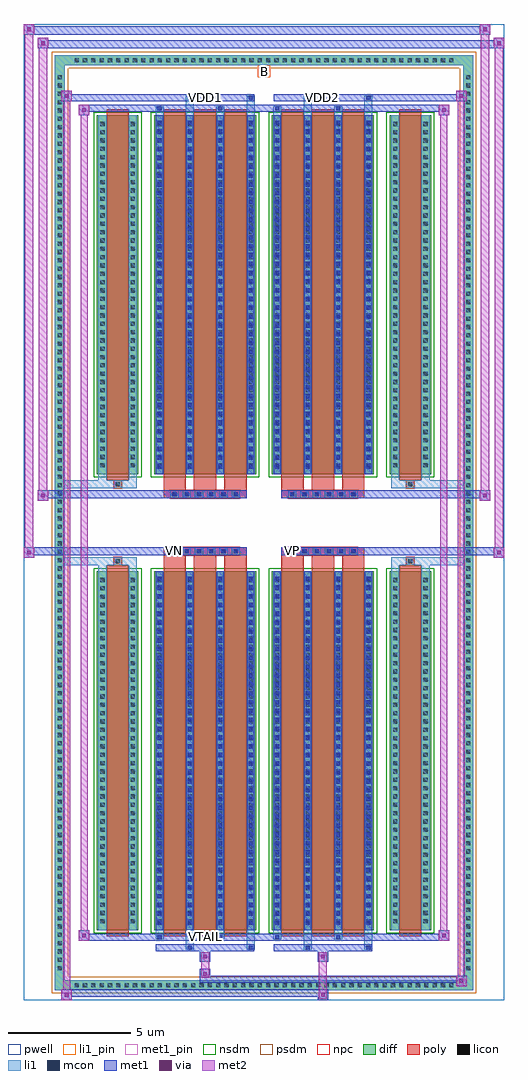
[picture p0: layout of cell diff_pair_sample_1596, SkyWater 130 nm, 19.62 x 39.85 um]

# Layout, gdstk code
import gdstk
lib = gdstk.Library(unit=1e-6, precision=5e-09)
def R(c, l, rs):  # rectangles x0, y0, x1, y1
    for r in rs: c.add(gdstk.rectangle(r[:2], r[2:], *l))
def A(c, l, x, y, w, h, nx, ny, dx, dy):  # array of equal rectangles
    R(c, l, [(x+i*dx, y+j*dy, x+i*dx+w, y+j*dy+h) for i in range(nx) for j in range(ny)])
def P(c, l, *ps):  # polygons
    for p in ps: c.add(gdstk.Polygon(p, *l))
pwell = (64, 44)
diff = (65, 20)
poly = (66, 20)
licon = (66, 44)
li1_pin = (67, 16)
li1 = (67, 20)
mcon = (67, 44)
met1_pin = (68, 16)
met1 = (68, 20)
via = (68, 44)
met2 = (69, 20)
nsdm = (93, 44)
psdm = (94, 20)
npc = (95, 20)

diff_pair_sample_1596 = lib.new_cell('diff_pair_sample_1596')
R(diff_pair_sample_1596, pwell, [(-9.81,-19.49,9.81,20.36), (-7.13,-17.68,-0.01,-0.8), (0.01,-17.68,7.13,-0.8), (-7.13,0.8,-0.01,17.68), (0.01,0.8,7.13,17.68)])
A(diff_pair_sample_1596, diff, -7.855, -19.09, 0.41, 0.41, 46, 2, 0.34, 37.77)
A(diff_pair_sample_1596, diff, -8.54, -18.395, 0.41, 0.41, 1, 108, 0, 0.34)
A(diff_pair_sample_1596, diff, 8.13, -18.395, 0.41, 0.41, 1, 108, 0, 0.34)
R(diff_pair_sample_1596, diff, [(-7.855,-19.09,7.855,-18.68), (-8.54,-18.395,-8.13,18.395), (8.13,-18.395,8.54,18.395), (-6.82,-16.635,-5.13,-1.985), (-4.49,-16.635,-0.32,-1.985), (0.32,-16.635,4.49,-1.985), (5.13,-16.635,6.82,-1.985), (-6.82,1.985,-5.13,16.635), (-4.49,1.985,-0.32,16.635), (0.32,1.985,4.49,16.635), (5.13,1.985,6.82,16.635), (-7.855,18.68,7.855,19.09)])
P(diff_pair_sample_1596, diff, [(8.54,19.09),(-8.54,19.09),(-8.54,-18.68),(-8.13,-18.68),(-8.13,18.68),(8.13,18.68),(8.13,-18.68),(-8.13,-18.68),(-8.54,-18.68),(-8.54,-19.09),(8.54,-19.09)])
A(diff_pair_sample_1596, poly, -4.1, -16.885, 0.91, 15.15, 3, 2, 1.24, 18.62)
A(diff_pair_sample_1596, poly, 0.71, -16.885, 0.91, 15.15, 3, 2, 1.24, 18.62)
A(diff_pair_sample_1596, poly, -4.1, -1.735, 0.91, 0.405, 3, 2, 1.24, 3.065)
A(diff_pair_sample_1596, poly, 0.71, -1.735, 0.91, 0.405, 3, 2, 1.24, 3.065)
A(diff_pair_sample_1596, poly, -3.82, -1.33, 0.33, 0.33, 6, 2, 0.5, 2.33)
A(diff_pair_sample_1596, poly, 0.99, -1.33, 0.33, 0.33, 6, 2, 0.5, 2.33)
R(diff_pair_sample_1596, poly, [(-6.43,-16.885,-5.52,-1.735), (5.52,-16.885,6.43,-1.735), (-6.14,-1.735,-5.81,-1.405), (-6.14,-1.735,-5.81,-1.405), (5.81,-1.735,6.14,-1.405), (5.81,-1.735,6.14,-1.405), (-4.1,-1.33,-0.71,-1), (0.71,-1.33,4.1,-1), (-4.1,1,-0.71,1.33), (0.71,1,4.1,1.33), (-6.14,1.405,-5.81,1.735), (-6.14,1.405,-5.81,1.735), (5.81,1.405,6.14,1.735), (5.81,1.405,6.14,1.735), (-6.43,1.735,-5.52,16.885), (5.52,1.735,6.43,16.885)])
A(diff_pair_sample_1596, licon, -7.735, -18.97, 0.17, 0.17, 46, 2, 0.34, 37.77)
A(diff_pair_sample_1596, licon, -8.42, -18.275, 0.17, 0.17, 1, 108, 0, 0.34)
A(diff_pair_sample_1596, licon, 8.25, -18.275, 0.17, 0.17, 1, 108, 0, 0.34)
A(diff_pair_sample_1596, licon, -6.68, -16.365, 0.17, 0.17, 1, 42, 0, 0.34)
A(diff_pair_sample_1596, licon, -5.44, -16.365, 0.17, 0.17, 1, 42, 0, 0.34)
A(diff_pair_sample_1596, licon, -4.35, -16.365, 0.17, 0.17, 4, 42, 1.24, 0.34)
A(diff_pair_sample_1596, licon, 0.46, -16.365, 0.17, 0.17, 4, 42, 1.24, 0.34)
A(diff_pair_sample_1596, licon, 5.27, -16.365, 0.17, 0.17, 1, 42, 0, 0.34)
A(diff_pair_sample_1596, licon, 6.51, -16.365, 0.17, 0.17, 1, 42, 0, 0.34)
A(diff_pair_sample_1596, licon, -3.74, -1.25, 0.17, 0.17, 6, 2, 0.5, 2.33)
A(diff_pair_sample_1596, licon, 1.07, -1.25, 0.17, 0.17, 6, 2, 0.5, 2.33)
A(diff_pair_sample_1596, licon, -6.68, 2.255, 0.17, 0.17, 1, 42, 0, 0.34)
A(diff_pair_sample_1596, licon, -5.44, 2.255, 0.17, 0.17, 1, 42, 0, 0.34)
A(diff_pair_sample_1596, licon, -4.35, 2.255, 0.17, 0.17, 4, 42, 1.24, 0.34)
A(diff_pair_sample_1596, licon, 0.46, 2.255, 0.17, 0.17, 4, 42, 1.24, 0.34)
A(diff_pair_sample_1596, licon, 5.27, 2.255, 0.17, 0.17, 1, 42, 0, 0.34)
A(diff_pair_sample_1596, licon, 6.51, 2.255, 0.17, 0.17, 1, 42, 0, 0.34)
R(diff_pair_sample_1596, licon, [(-6.06,-1.655,-5.89,-1.485), (5.89,-1.655,6.06,-1.485), (-6.06,1.485,-5.89,1.655), (5.89,1.485,6.06,1.655)])
R(diff_pair_sample_1596, li1_pin, [(-0.25,18.18,0.25,18.68)])
A(diff_pair_sample_1596, li1, -7.815, -19.05, 0.33, 0.33, 46, 2, 0.34, 37.77)
A(diff_pair_sample_1596, li1, -8.5, -18.355, 0.33, 0.33, 1, 108, 0, 0.34)
A(diff_pair_sample_1596, li1, 8.17, -18.355, 0.33, 0.33, 1, 108, 0, 0.34)
A(diff_pair_sample_1596, li1, -4.43, -16.635, 0.33, 14.65, 4, 2, 1.24, 18.62)
A(diff_pair_sample_1596, li1, 0.38, -16.635, 0.33, 14.65, 4, 2, 1.24, 18.62)
A(diff_pair_sample_1596, li1, -6.76, -16.445, 0.33, 0.33, 1, 42, 0, 0.34)
A(diff_pair_sample_1596, li1, -5.52, -16.445, 0.33, 0.33, 1, 42, 0, 0.34)
A(diff_pair_sample_1596, li1, -4.43, -16.445, 0.33, 0.33, 4, 42, 1.24, 0.34)
A(diff_pair_sample_1596, li1, 0.38, -16.445, 0.33, 0.33, 4, 42, 1.24, 0.34)
A(diff_pair_sample_1596, li1, 5.19, -16.445, 0.33, 0.33, 1, 42, 0, 0.34)
A(diff_pair_sample_1596, li1, 6.43, -16.445, 0.33, 0.33, 1, 42, 0, 0.34)
A(diff_pair_sample_1596, li1, -4.35, -16.415, 0.17, 0.17, 4, 40, 1.24, 0.36)
A(diff_pair_sample_1596, li1, -4.35, -16.415, 0.17, 14.21, 4, 2, 1.24, 18.62)
A(diff_pair_sample_1596, li1, 0.46, -16.415, 0.17, 0.17, 4, 40, 1.24, 0.36)
A(diff_pair_sample_1596, li1, 0.46, -16.415, 0.17, 14.21, 4, 2, 1.24, 18.62)
A(diff_pair_sample_1596, li1, -3.82, -1.33, 0.33, 0.33, 6, 2, 0.5, 2.33)
A(diff_pair_sample_1596, li1, 0.99, -1.33, 0.33, 0.33, 6, 2, 0.5, 2.33)
A(diff_pair_sample_1596, li1, -6.76, 2.175, 0.33, 0.33, 1, 42, 0, 0.34)
A(diff_pair_sample_1596, li1, -5.52, 2.175, 0.33, 0.33, 1, 42, 0, 0.34)
A(diff_pair_sample_1596, li1, -4.43, 2.175, 0.33, 0.33, 4, 42, 1.24, 0.34)
A(diff_pair_sample_1596, li1, 0.38, 2.175, 0.33, 0.33, 4, 42, 1.24, 0.34)
A(diff_pair_sample_1596, li1, 5.19, 2.175, 0.33, 0.33, 1, 42, 0, 0.34)
A(diff_pair_sample_1596, li1, 6.43, 2.175, 0.33, 0.33, 1, 42, 0, 0.34)
A(diff_pair_sample_1596, li1, -4.35, 2.205, 0.17, 0.17, 4, 40, 1.24, 0.36)
A(diff_pair_sample_1596, li1, 0.46, 2.205, 0.17, 0.17, 4, 40, 1.24, 0.36)
R(diff_pair_sample_1596, li1, [(-8.54,-19.09,-8.13,-18.68), (-8.54,-19.09,-8.13,-18.68), (-8.13,-19.09,8.13,-18.68), (8.13,-19.09,8.54,-18.68), (8.13,-19.09,8.54,-18.68), (-8.54,-18.68,-8.13,18.68), (8.13,-18.68,8.54,18.68), (-3.19,-17.44,-2.86,-16.635), (-3.11,-17.44,-2.94,-17.27), (-0.71,-17.44,-0.38,-16.635), (-0.63,-17.44,-0.46,-17.27), (1.62,-17.44,1.95,-16.635), (1.7,-17.44,1.87,-17.27), (4.1,-17.44,4.43,-16.635), (4.18,-17.44,4.35,-17.27), (-4.43,-17.01,-4.1,-16.635), (-4.35,-17.01,-4.18,-16.84), (-1.95,-17.01,-1.62,-16.635), (-1.87,-17.01,-1.7,-16.84), (0.38,-17.01,0.71,-16.635), (0.46,-17.01,0.63,-16.84), (2.86,-17.01,3.19,-16.635), (2.94,-17.01,3.11,-16.84), (-6.76,-16.635,-6.43,-1.985), (-5.52,-16.635,-5.19,-1.985), (5.19,-16.635,5.52,-1.985), (6.43,-16.635,6.76,-1.985), (-6.76,-1.985,-6.43,-1.405), (-5.52,-1.985,-5.19,-1.405), (5.19,-1.985,5.52,-1.405), (6.43,-1.985,6.76,-1.405), (-8.54,-1.735,-6.14,-1.405), (-6.76,-1.735,-6.14,-1.405), (-6.14,-1.735,-5.81,-1.405), (-5.81,-1.735,-5.19,-1.405), (5.19,-1.735,5.81,-1.405), (5.81,-1.735,6.14,-1.405), (5.81,-1.735,8.54,-1.405), (6.14,-1.735,6.76,-1.405), (-8.54,1.405,-6.14,1.735), (-6.76,1.405,-6.14,1.735), (-6.76,1.405,-6.43,1.985), (-6.14,1.405,-5.81,1.735), (-5.81,1.405,-5.19,1.735), (-5.52,1.405,-5.19,1.985), (5.19,1.405,5.81,1.735), (5.19,1.405,5.52,1.985), (5.81,1.405,6.14,1.735), (5.81,1.405,8.54,1.735), (6.14,1.405,6.76,1.735), (6.43,1.405,6.76,1.985), (-6.76,1.985,-6.43,16.635), (-5.52,1.985,-5.19,16.635), (5.19,1.985,5.52,16.635), (6.43,1.985,6.76,16.635), (-4.43,16.635,-4.1,17.01), (-3.19,16.635,-2.86,17.44), (-1.95,16.635,-1.62,17.01), (-0.71,16.635,-0.38,17.44), (0.38,16.635,0.71,17.01), (1.62,16.635,1.95,17.44), (2.86,16.635,3.19,17.01), (4.1,16.635,4.43,17.44), (-4.35,16.84,-4.18,17.01), (-1.87,16.84,-1.7,17.01), (0.46,16.84,0.63,17.01), (2.94,16.84,3.11,17.01), (-3.11,17.27,-2.94,17.44), (-0.63,17.27,-0.46,17.44), (1.7,17.27,1.87,17.44), (4.18,17.27,4.35,17.44), (-8.54,18.68,-8.13,19.09), (-8.54,18.68,-8.13,19.09), (-8.13,18.68,8.13,19.09), (8.13,18.68,8.54,19.09), (8.13,18.68,8.54,19.09)])
A(diff_pair_sample_1596, mcon, -4.35, -16.415, 0.17, 0.17, 4, 40, 1.24, 0.36)
A(diff_pair_sample_1596, mcon, 0.46, -16.415, 0.17, 0.17, 4, 40, 1.24, 0.36)
A(diff_pair_sample_1596, mcon, -3.74, -1.25, 0.17, 0.17, 6, 2, 0.5, 2.33)
A(diff_pair_sample_1596, mcon, 1.07, -1.25, 0.17, 0.17, 6, 2, 0.5, 2.33)
A(diff_pair_sample_1596, mcon, -4.35, 2.205, 0.17, 0.17, 4, 40, 1.24, 0.36)
A(diff_pair_sample_1596, mcon, 0.46, 2.205, 0.17, 0.17, 4, 40, 1.24, 0.36)
R(diff_pair_sample_1596, mcon, [(-3.11,-17.44,-2.94,-17.27), (-0.63,-17.44,-0.46,-17.27), (1.7,-17.44,1.87,-17.27), (4.18,-17.44,4.35,-17.27), (-4.35,-17.01,-4.18,-16.84), (-1.87,-17.01,-1.7,-16.84), (0.46,-17.01,0.63,-16.84), (2.94,-17.01,3.11,-16.84), (-4.35,16.84,-4.18,17.01), (-1.87,16.84,-1.7,17.01), (0.46,16.84,0.63,17.01), (2.94,16.84,3.11,17.01), (-3.11,17.27,-2.94,17.44), (-0.63,17.27,-0.46,17.44), (1.7,17.27,1.87,17.44), (4.18,17.27,4.35,17.44)])
R(diff_pair_sample_1596, met1_pin, [(-2.54,-17.05,-2.27,-16.78), (-3.79,-1.29,-3.52,-1.02), (1.02,-1.29,1.29,-1.02), (-2.54,17.23,-2.27,17.5), (2.27,17.23,2.54,17.5)])
A(diff_pair_sample_1596, met1, -4.41, -16.635, 0.29, 14.65, 4, 2, 1.24, 18.62)
A(diff_pair_sample_1596, met1, 0.4, -16.635, 0.29, 14.65, 4, 2, 1.24, 18.62)
A(diff_pair_sample_1596, met1, -4.41, -16.475, 0.29, 0.29, 4, 40, 1.24, 0.36)
A(diff_pair_sample_1596, met1, 0.4, -16.475, 0.29, 0.29, 4, 40, 1.24, 0.36)
A(diff_pair_sample_1596, met1, -3.8, -1.31, 0.29, 0.29, 6, 2, 0.5, 2.33)
A(diff_pair_sample_1596, met1, 1.01, -1.31, 0.29, 0.29, 6, 2, 0.5, 2.33)
A(diff_pair_sample_1596, met1, -4.41, 2.145, 0.29, 0.29, 4, 40, 1.24, 0.36)
A(diff_pair_sample_1596, met1, 0.4, 2.145, 0.29, 0.29, 4, 40, 1.24, 0.36)
R(diff_pair_sample_1596, met1, [(-8.27,-19.49,-7.84,-19.06), (2.19,-19.49,2.62,-19.06), (-8.27,-19.35,2.62,-19.06), (7.84,-18.92,8.27,-18.49), (-2.62,-18.78,8.27,-18.49), (-2.62,-18.64,-2.19,-18.21), (-2.62,-17.93,-2.19,-17.5), (2.19,-17.93,2.62,-17.5), (-4.41,-17.5,-0.4,-17.21), (-3.17,-17.5,-2.88,-17.21), (-0.69,-17.5,-0.4,-17.21), (0.4,-17.5,4.41,-17.21), (1.64,-17.5,1.93,-17.21), (4.12,-17.5,4.41,-17.21), (-7.56,-17.07,-7.13,-16.64), (-7.56,-17.07,-4.41,-16.78), (-4.41,-17.07,-4.12,-16.78), (-4.41,-17.07,-0.4,-16.78), (-1.93,-17.07,-1.64,-16.78), (-0.4,-17.07,0.4,-16.78), (0.4,-17.07,0.69,-16.78), (0.4,-17.07,4.41,-16.78), (2.88,-17.07,3.17,-16.78), (4.41,-17.07,7.56,-16.78), (7.13,-17.07,7.56,-16.64), (-9.81,-1.43,-9.38,-1), (9.38,-1.43,9.81,-1), (-9.81,-1.33,-0.71,-1), (-4.1,-1.33,-0.71,-1), (0.71,-1.33,4.1,-1), (0.71,-1.33,9.81,-1), (-9.24,0.9,-8.81,1.33), (8.81,0.9,9.24,1.33), (-9.24,1,-4.1,1.33), (-4.1,1,-0.71,1.33), (0.71,1,4.1,1.33), (4.1,1,9.24,1.33), (-7.56,16.64,-7.13,17.07), (7.13,16.64,7.56,17.07), (-7.56,16.78,-4.41,17.07), (-4.41,16.78,-4.12,17.07), (-4.41,16.78,-0.4,17.07), (-1.93,16.78,-1.64,17.07), (-0.4,16.78,0.4,17.07), (0.4,16.78,0.69,17.07), (0.4,16.78,4.41,17.07), (2.88,16.78,3.17,17.07), (4.41,16.78,7.56,17.07), (-8.27,17.21,-7.84,17.64), (-8.27,17.21,-4.41,17.5), (-4.41,17.21,-0.4,17.5), (-3.17,17.21,-2.88,17.5), (-0.69,17.21,-0.4,17.5), (0.4,17.21,4.41,17.5), (1.64,17.21,1.93,17.5), (4.12,17.21,4.41,17.5), (4.41,17.21,8.27,17.5), (7.84,17.21,8.27,17.64), (-9.24,19.36,-8.81,19.79), (-9.24,19.36,-7.13,19.69), (-7.13,19.36,7.13,19.69), (7.13,19.36,9.81,19.69), (9.38,19.36,9.81,19.79), (-9.81,19.93,-9.38,20.36), (-9.81,19.93,-7.13,20.26), (-7.13,19.93,7.13,20.26), (7.13,19.93,9.24,20.26), (8.81,19.93,9.24,20.36)])
R(diff_pair_sample_1596, via, [(-8.13,-19.35,-7.98,-19.2), (2.33,-19.35,2.48,-19.2), (7.98,-18.78,8.13,-18.63), (-2.48,-18.5,-2.33,-18.35), (-2.48,-17.79,-2.33,-17.64), (2.33,-17.79,2.48,-17.64), (-7.42,-16.93,-7.27,-16.78), (7.27,-16.93,7.42,-16.78), (-9.67,-1.29,-9.52,-1.14), (9.52,-1.29,9.67,-1.14), (-9.1,1.04,-8.95,1.19), (8.95,1.04,9.1,1.19), (-7.42,16.78,-7.27,16.93), (7.27,16.78,7.42,16.93), (-8.13,17.35,-7.98,17.5), (7.98,17.35,8.13,17.5), (-9.1,19.5,-8.95,19.65), (9.52,19.5,9.67,19.65), (-9.67,20.07,-9.52,20.22), (8.95,20.07,9.1,20.22)])
R(diff_pair_sample_1596, met2, [(-8.27,-19.49,-7.84,-19.06), (-8.2,-19.49,-7.91,17.64), (-7.91,-19.49,-7.84,-19.06), (-8.22,-19.44,-7.89,-19.11), (2.24,-19.44,2.57,-19.11), (2.24,-19.11,2.57,-17.88), (7.84,-18.92,8.27,-18.49), (7.91,-18.92,8.2,17.64), (8.2,-18.92,8.27,-18.49), (7.89,-18.87,8.22,-18.54), (-2.57,-18.59,-2.24,-18.26), (-2.57,-18.26,-2.24,-17.88), (-2.57,-17.88,-2.24,-17.55), (2.24,-17.88,2.57,-17.55), (-7.56,-17.07,-7.13,-16.64), (-7.49,-17.07,-7.2,17.07), (-7.2,-17.07,-7.13,-16.64), (7.13,-17.07,7.56,-16.64), (7.2,-17.07,7.49,17.07), (7.49,-17.07,7.56,-16.64), (-7.51,-17.02,-7.18,-16.69), (7.18,-17.02,7.51,-16.69), (-9.81,-1.43,-9.38,-1), (-9.76,-1.43,-9.43,20.36), (-9.43,-1.43,-9.38,-1), (9.38,-1.43,9.81,-1), (9.43,-1.43,9.76,19.79), (9.76,-1.43,9.81,-1), (-9.76,-1.38,-9.43,-1.05), (9.43,-1.38,9.76,-1.05), (-9.24,0.9,-8.81,1.33), (-9.19,0.9,-8.86,19.79), (-8.86,0.9,-8.81,1.33), (8.81,0.9,9.24,1.33), (8.86,0.9,9.19,20.36), (9.19,0.9,9.24,1.33), (-9.19,0.95,-8.86,1.28), (8.86,0.95,9.19,1.28), (-7.56,16.64,-7.13,17.07), (-7.2,16.64,-7.13,17.07), (7.13,16.64,7.56,17.07), (7.49,16.64,7.56,17.07), (-7.51,16.69,-7.18,17.02), (7.18,16.69,7.51,17.02), (-8.27,17.21,-7.84,17.64), (-7.91,17.21,-7.84,17.64), (7.84,17.21,8.27,17.64), (8.2,17.21,8.27,17.64), (-8.22,17.26,-7.89,17.59), (7.89,17.26,8.22,17.59), (-9.24,19.36,-8.81,19.79), (-8.86,19.36,-8.81,19.79), (9.38,19.36,9.81,19.79), (9.76,19.36,9.81,19.79), (-9.19,19.41,-8.86,19.74), (9.43,19.41,9.76,19.74), (-9.81,19.93,-9.38,20.36), (-9.43,19.93,-9.38,20.36), (8.81,19.93,9.24,20.36), (9.19,19.93,9.24,20.36), (-9.76,19.98,-9.43,20.31), (8.86,19.98,9.19,20.31)])
R(diff_pair_sample_1596, nsdm, [(-6.95,-16.765,-5,-1.855), (-4.62,-16.765,-0.19,-1.855), (0.19,-16.765,4.62,-1.855), (5,-16.765,6.95,-1.855), (-6.95,1.855,-5,16.765), (-4.62,1.855,-0.19,16.765), (0.19,1.855,4.62,16.765), (5,1.855,6.95,16.765)])
P(diff_pair_sample_1596, psdm, [(8.67,19.22),(-8.67,19.22),(-8.67,-18.55),(-8,-18.55),(-8,18.55),(8,18.55),(8,-18.55),(-8,-18.55),(-8.67,-18.55),(-8.67,-19.22),(8.67,-19.22)])
A(diff_pair_sample_1596, npc, -3.84, -1.35, 0.37, 0.37, 6, 2, 0.5, 2.33)
A(diff_pair_sample_1596, npc, 0.97, -1.35, 0.37, 0.37, 6, 2, 0.5, 2.33)
R(diff_pair_sample_1596, npc, [(-6.16,-1.755,-5.79,-1.385), (5.79,-1.755,6.16,-1.385), (-3.84,-1.35,-2.97,-0.98), (-3.84,-1.35,-2.97,-0.98), (-3.34,-1.35,-2.47,-0.98), (-3.34,-1.35,-2.47,-0.98), (-2.84,-1.35,-1.97,-0.98), (-2.84,-1.35,-1.97,-0.98), (-2.34,-1.35,-1.47,-0.98), (-2.34,-1.35,-1.47,-0.98), (-1.84,-1.35,-0.97,-0.98), (-1.84,-1.35,-0.97,-0.98), (0.97,-1.35,1.84,-0.98), (0.97,-1.35,1.84,-0.98), (1.47,-1.35,2.34,-0.98), (1.47,-1.35,2.34,-0.98), (1.97,-1.35,2.84,-0.98), (1.97,-1.35,2.84,-0.98), (2.47,-1.35,3.34,-0.98), (2.47,-1.35,3.34,-0.98), (2.97,-1.35,3.84,-0.98), (2.97,-1.35,3.84,-0.98), (-3.84,0.98,-2.97,1.35), (-3.84,0.98,-2.97,1.35), (-3.34,0.98,-2.47,1.35), (-3.34,0.98,-2.47,1.35), (-2.84,0.98,-1.97,1.35), (-2.84,0.98,-1.97,1.35), (-2.34,0.98,-1.47,1.35), (-2.34,0.98,-1.47,1.35), (-1.84,0.98,-0.97,1.35), (-1.84,0.98,-0.97,1.35), (0.97,0.98,1.84,1.35), (0.97,0.98,1.84,1.35), (1.47,0.98,2.34,1.35), (1.47,0.98,2.34,1.35), (1.97,0.98,2.84,1.35), (1.97,0.98,2.84,1.35), (2.47,0.98,3.34,1.35), (2.47,0.98,3.34,1.35), (2.97,0.98,3.84,1.35), (2.97,0.98,3.84,1.35), (-6.16,1.385,-5.79,1.755), (5.79,1.385,6.16,1.755)])
diff_pair_sample_1596.add(gdstk.Label('VTAIL', (-2.405,-16.915), layer=68, texttype=5))
diff_pair_sample_1596.add(gdstk.Label('VN', (-3.655,-1.155), layer=68, texttype=5))
diff_pair_sample_1596.add(gdstk.Label('VP', (1.155,-1.155), layer=68, texttype=5))
diff_pair_sample_1596.add(gdstk.Label('B', (0,18.43), layer=67, texttype=5))
diff_pair_sample_1596.add(gdstk.Label('VDD2', (2.405,17.365), layer=68, texttype=5))
diff_pair_sample_1596.add(gdstk.Label('VDD1', (-2.405,17.365), layer=68, texttype=5))

lib.write_gds('diff_pair_sample_1596.gds')
